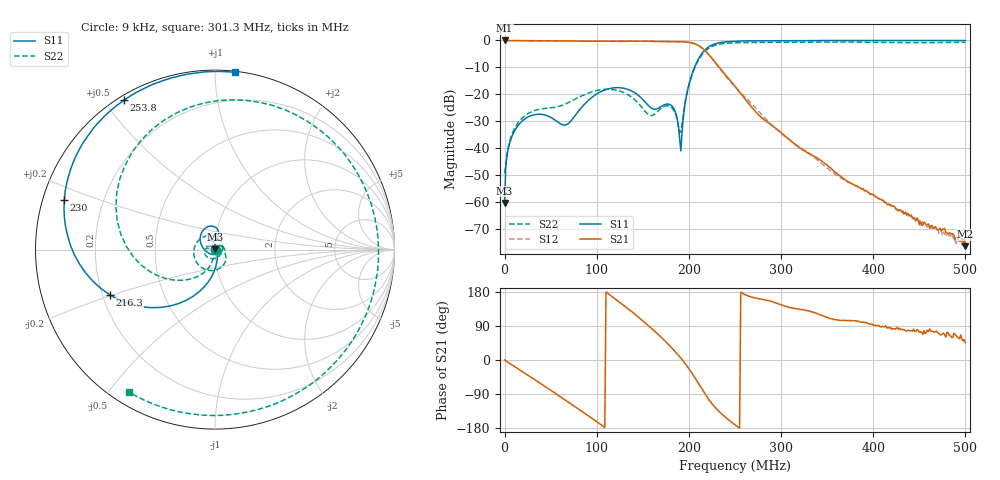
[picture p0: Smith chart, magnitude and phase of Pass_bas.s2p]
! ZVRE, 3.52
! symbol freq-unit parameter-type data-format keyword impedance-ohm
#  HZ  S  RI  R  50
! freq  reS11  imS11  reS21  imS21  reS12  imS12  reS22  imS22
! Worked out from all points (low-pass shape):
!   401 points, 9 kHz to 500 MHz, reference 50 ohm
!   highest |S21| = 0.02 dB at 9 kHz (marker M1); lowest = -76.2 dB at 500 MHz (marker M2)
!   |S21| within 3 dB of the highest: start of sweep to 215.1 MHz
!   lowest |S11| = -60.2 dB at 9 kHz (marker M3), VSWR 1.00, Z = 50.1 + j0.0752 ohm
!   |S11| at or under -10 dB: start of sweep to 206 MHz
!   |S22| runs from -49.2 to -0.6 dB; largest |S21 - S12| = 0.018
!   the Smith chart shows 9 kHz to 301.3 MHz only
!   S11 on the Smith chart (normalised r, x): 9 kHz: 1.00, +0.00; 216.3 MHz: 0.23, -0.20; 230 MHz: 0.06, +0.16; 253.8 MHz: 0.02, +0.56; 301.3 MHz: 0.01, +1.12
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9000  0.00062 0.000752  1.002 0.00147  0.9975 -0.00192  0.00347 0.000371
5008910  0.00622 0.00997  0.9846 -0.1396  0.9839 -0.1393  0.0069 0.0106
1.750868e7  0.0205 0.0223  0.8756 -0.4635  0.8754 -0.4628  0.0267 0.0216
5.250806e7  0.0327 -0.0137  0.1067 -0.982  0.1061 -0.9791  0.055 -0.0157
8.375749e7  -0.058 -0.00137  -0.6943 -0.6793  -0.6944 -0.6962  0.0518 -0.079
1.237568e8  -0.0289 0.1305  -0.8711 0.4158  -0.8739 0.4116  -0.1171 -0.000282
1.67506e8  -0.0236 0.0512  0.3984 0.8758  0.4032 0.8776  -0.00894 -0.0502
1.812557e8  -0.0246 0.0567  0.8099 0.5101  0.8086 0.5099  -0.057 -0.00385
1.912556e8  0.00898 0.000127  0.9461 0.0823  0.9471 0.0837  -0.0144 -0.0141
2.012554e8  -0.0366 -0.1787  0.815 -0.4243  0.8162 -0.4251  -0.0953 -0.1492
2.162551e8  -0.585 -0.2529  0.0582 -0.678  0.0583 -0.6769  -0.5524 0.2386
2.300049e8  -0.8396 0.2779  -0.2308 -0.283  -0.2308 -0.2769  0.0205 0.8306
2.500045e8  -0.5712 0.7834  -0.14 -0.0217  -0.1341 -0.0334  0.8727 0.2454
2.537544e8  -0.5075 0.8324  -0.1177 -0.00513  -0.1173 -0.0179  0.9083 0.0661
2.78754e8  -0.1362 0.9796  -0.0353 0.0124  -0.0394 0.0175  0.3902 -0.835
3.012536e8  0.1139 0.9878  -0.0154 0.011  -0.0141 0.0114  -0.4776 -0.7954
3.33753e8  0.3725 0.9233  -0.00451 0.00599  -0.00368 0.0063  -0.8913 0.2862
3.712523e8  0.5768 0.8145  -0.000623 0.00242  -0.000732 0.00232  0.2074 0.912
3.950019e8  0.6705 0.7403  -0.000144 0.00151  -0.000185 0.0015  0.8373 0.3964
4.175015e8  0.7404 0.6696  9.5e-05 0.000909  6.67e-05 0.000932  0.849 -0.3499
4.550008e8  0.8305 0.5566  9.14e-05 0.000411  0.000102 0.000417  -0.1602 -0.8996
5e8  0.9026 0.4282  0.000108 0.00011  0.000107 0.000125  -0.9037 0.2042
